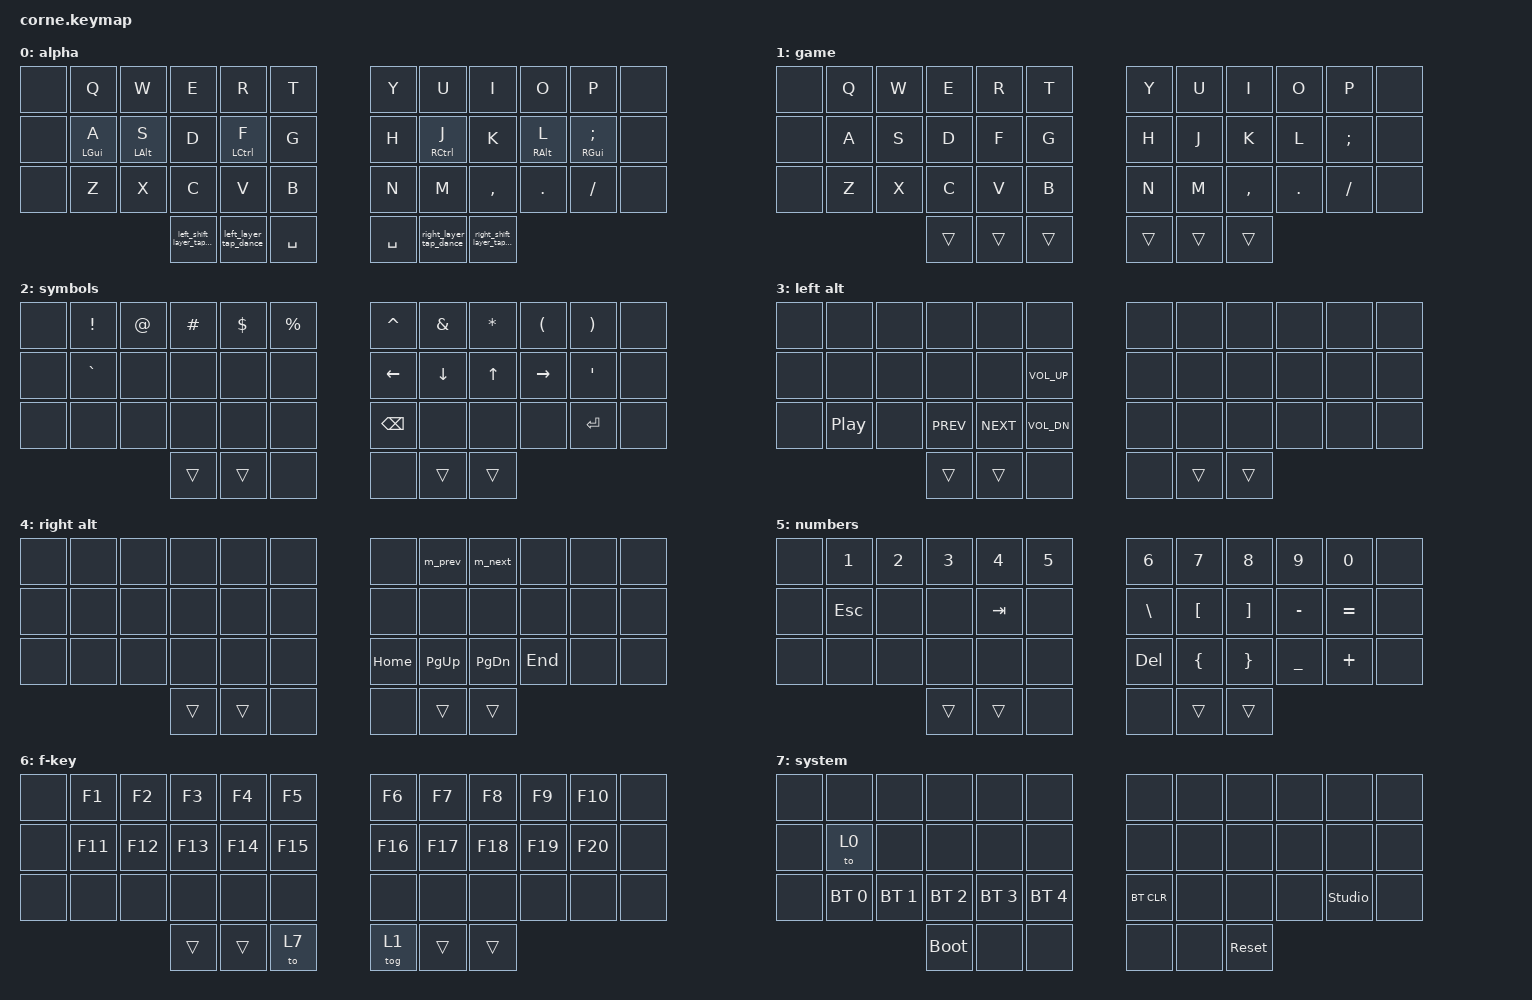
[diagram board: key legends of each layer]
/*
 * Copyright (c) 2020 The ZMK Contributors
 *
 * SPDX-License-Identifier: MIT
 */

#include <behaviors.dtsi>
#include <dt-bindings/zmk/bt.h>
#include <dt-bindings/zmk/keys.h>
#include <dt-bindings/zmk/keys.h>

&caps_word { continue-list = <UNDERSCORE MINUS BACKSPACE DELETE>; };

/ {
    conditional_layers {
        compatible = "zmk,conditional-layers";

        system_layer {
            if-layers = <5 2>;
            then-layer = <6>;
        };
    };

    macros {
        m_next: m_next {
            label = "M_NEXT";
            compatible = "zmk,behavior-macro";
            #binding-cells = <0>;
            bindings =
                <&macro_press>,
                <&kp RC(TAB)>,
                <&macro_release>,
                <&kp RC(TAB)>;
        };

        m_prev: m_prev {
            label = "M_PREV";
            compatible = "zmk,behavior-macro";
            #binding-cells = <0>;
            bindings =
                <&macro_press>,
                <&kp LC(LS(TAB))>,
                <&macro_release>,
                <&kp LC(LS(TAB))>;
        };

        helldivers_mission_reinforce: helldivers_mission_reinforce {
            compatible = "zmk,behavior-macro";
            #binding-cells = <0>;
            bindings = <&kt B &kp E &kp D &kp F &kp S &kp E &kt B>;
            label = "HELLDIVERS_MISSION_REINFORCE";
            wait-ms = <50>;
        };

        helldivers_mission_resupply: helldivers_mission_resupply {
            compatible = "zmk,behavior-macro";
            #binding-cells = <0>;
            bindings = <&kt B &kp D &kp D &kp E &kp F &kt B>;
            label = "HELLDIVERS_MISSION_RESUPPLY";
            wait-ms = <50>;
        };

        helldivers_precision_strike: helldivers_precision_strike {
            compatible = "zmk,behavior-macro";
            #binding-cells = <0>;
            bindings = <&kt B &kp F &kp F &kp E &kt B>;
            label = "HELLDIVERS_PRECISION_STRIKE";
            wait-ms = <50>;
        };

        helldivers_template: helldivers_template {
            compatible = "zmk,behavior-macro";
            #binding-cells = <0>;
            bindings = <&kt B &kt B>;
            label = "HELLDIVERS_TEMPLATE";
            wait-ms = <50>;
        };

        helldivers_supply_machine_gun: helldivers_supply_machine_gun {
            compatible = "zmk,behavior-macro";
            #binding-cells = <0>;
            bindings = <&kt B &kp D &kp S &kp D &kp E &kp F &kt B>;
            label = "HELLDIVERS_SUPPLY_MACHINE_GUN";
            wait-ms = <50>;
        };
    };

    behaviors {
        left_homerow_mod: left_homerow_mod {
            compatible = "zmk,behavior-hold-tap";
            #binding-cells = <2>;
            label = "LEFT_HOMEROW_MOD";
            flavor = "balanced";
            require-prior-idle-ms = <150>;
            tapping-term-ms = <250>;
            quick-tap-ms = <125>;
            bindings = <&kp>, <&kp>;

            hold-trigger-key-positions = <6 7 8 9 10 11 18 19 20 21 22 23 30 31 32 33 34 35 36 37 38 39 40 41>;

            // right-hand keys + thumb cluster

            hold-trigger-on-release;
        };

        right_homerow_mod: right_homerow_mod {
            compatible = "zmk,behavior-hold-tap";
            #binding-cells = <2>;
            label = "RIGHT_HOMEROW_MOD";
            flavor = "balanced";
            require-prior-idle-ms = <150>;
            tapping-term-ms = <250>;
            quick-tap-ms = <125>;
            bindings = <&kp>, <&kp>;

            hold-trigger-key-positions = <0 1 2 3 4 5 12 13 14 15 16 17 24 25 26 27 28 29 36 37 38 39 40 41>;

            // left-hand keys + thumb cluster

            hold-trigger-on-release;
        };

        right_shift_layer_tap_dance: right_shift_layer_tap_dance {
            compatible = "zmk,behavior-tap-dance";
            label = "RIGHT_SHIFT_LAYER_TAP_DANCE";
            #binding-cells = <0>;
            bindings = <&kp RSHFT>, <&caps_word>;

            tapping-term-ms = <350>;
        };

        left_shift_layer_tap_dance: left_shift_layer_tap_dance {
            compatible = "zmk,behavior-tap-dance";
            label = "LEFT_SHIFT_LAYER_TAP_DANCE";
            #binding-cells = <0>;
            bindings = <&kp LSHFT>, <&caps_word>;

            tapping-term-ms = <350>;
        };

        left_layer_tap_dance: left_layer_tap_dance {
            compatible = "zmk,behavior-tap-dance";
            label = "LEFT_LAYER_TAP_DANCE";
            #binding-cells = <0>;
            bindings = <&mo 5>, <&mo 3>;

            tapping-term-ms = <350>;
        };

        right_layer_tap_dance: right_layer_tap_dance {
            compatible = "zmk,behavior-tap-dance";
            label = "RIGHT_LAYER_TAP_DANCE";
            #binding-cells = <0>;
            tapping-term-ms = <350>;
            bindings = <&mo 2>, <&mo 4>;
        };
    };

    combos {
        compatible = "zmk,combos";

        left_globe {
            bindings = <&kp GLOBE>;
            key-positions = <36 37>;
            layers = <0>;
        };

        right_globe {
            bindings = <&kp GLOBE>;
            key-positions = <40 41>;
            layers = <0>;
        };
    };

    keymap {
        compatible = "zmk,keymap";

        alpha {
            display-name = "alpha";
            bindings = <
&none  &kp Q                     &kp W                     &kp E                        &kp R                      &kp T        &kp Y      &kp U                       &kp I                         &kp O                      &kp P                         &none
&none  &left_homerow_mod LGUI A  &left_homerow_mod LALT S  &kp D                        &left_homerow_mod LCTRL F  &kp G        &kp H      &right_homerow_mod RCTRL J  &kp K                         &right_homerow_mod RALT L  &right_homerow_mod RGUI SEMI  &none
&none  &kp Z                     &kp X                     &kp C                        &kp V                      &kp B        &kp N      &kp M                       &kp COMMA                     &kp DOT                    &kp FSLH                      &none
                                                           &left_shift_layer_tap_dance  &left_layer_tap_dance      &kp SPACE    &kp SPACE  &right_layer_tap_dance      &right_shift_layer_tap_dance
            >;

            label = "alpha";
        };

        game {
            display-name = "game";
            bindings = <
&none  &kp Q  &kp W  &kp E   &kp R   &kp T     &kp Y   &kp U   &kp I      &kp O    &kp P     &none
&none  &kp A  &kp S  &kp D   &kp F   &kp G     &kp H   &kp J   &kp K      &kp L    &kp SEMI  &none
&none  &kp Z  &kp X  &kp C   &kp V   &kp B     &kp N   &kp M   &kp COMMA  &kp DOT  &kp FSLH  &none
                     &trans  &trans  &trans    &trans  &trans  &trans
            >;
        };

        symbols {
            display-name = "symbols";
            bindings = <
&none  &kp EXCL   &kp AT  &kp POUND  &kp DOLLAR  &kp PERCENT    &kp CARET       &kp AMPS  &kp ASTERISK  &kp LPAR   &kp RPAR   &none
&none  &kp GRAVE  &none   &none      &none       &none          &kp LEFT_ARROW  &kp DOWN  &kp UP        &kp RIGHT  &kp APOS   &none
&none  &none      &none   &none      &none       &none          &kp BACKSPACE   &none     &none         &none      &kp ENTER  &none
                          &trans     &trans      &none          &none           &trans    &trans
            >;
        };

        left_alt {
            display-name = "left alt";
            bindings = <
&none  &none             &none  &none       &none       &none           &none  &none   &none   &none  &none  &none
&none  &none             &none  &none       &none       &kp C_VOL_UP    &none  &none   &none   &none  &none  &none
&none  &kp C_PLAY_PAUSE  &none  &kp C_PREV  &kp C_NEXT  &kp C_VOL_DN    &none  &none   &none   &none  &none  &none
                                &trans      &trans      &none           &none  &trans  &trans
            >;
        };

        right_alt {
            display-name = "right alt";
            bindings = <
&none  &none  &none  &none   &none   &none    &none     &m_prev    &m_next    &none    &none  &none
&none  &none  &none  &none   &none   &none    &none     &none      &none      &none    &none  &none
&none  &none  &none  &none   &none   &none    &kp HOME  &kp PG_UP  &kp PG_DN  &kp END  &none  &none
                     &trans  &trans  &none    &none     &trans     &trans
            >;
        };

        numbers {
            display-name = "numbers";
            bindings = <
&none  &kp N1   &kp N2  &kp N3  &kp N4   &kp N5    &kp N6         &kp N7            &kp N8             &kp N9     &kp N0     &none
&none  &kp ESC  &none   &none   &kp TAB  &none     &kp BACKSLASH  &kp LEFT_BRACKET  &kp RIGHT_BRACKET  &kp MINUS  &kp EQUAL  &none
&none  &none    &none   &none   &none    &none     &kp DELETE     &kp LEFT_BRACE    &kp RIGHT_BRACE    &kp UNDER  &kp PLUS   &none
                        &trans  &trans   &none     &none          &trans            &trans
            >;
        };

        f-key {
            display-name = "f-key";
            bindings = <
&none  &kp F1   &kp F2   &kp F3   &kp F4   &kp F5     &kp F6   &kp F7   &kp F8   &kp F9   &kp F10  &none
&none  &kp F11  &kp F12  &kp F13  &kp F14  &kp F15    &kp F16  &kp F17  &kp F18  &kp F19  &kp F20  &none
&none  &none    &none    &none    &none    &none      &none    &none    &none    &none    &none    &none
                         &trans   &trans   &to 7      &tog 1   &trans   &trans
            >;
        };

        system {
            bindings = <
&none  &none         &none         &none         &none         &none           &none       &none  &none       &none  &none           &none
&none  &to 0         &none         &none         &none         &none           &none       &none  &none       &none  &none           &none
&none  &bt BT_SEL 0  &bt BT_SEL 1  &bt BT_SEL 2  &bt BT_SEL 3  &bt BT_SEL 4    &bt BT_CLR  &none  &none       &none  &studio_unlock  &none
                                   &bootloader   &none         &none           &none       &none  &sys_reset
            >;

            label = "system";
        };
    };
};
